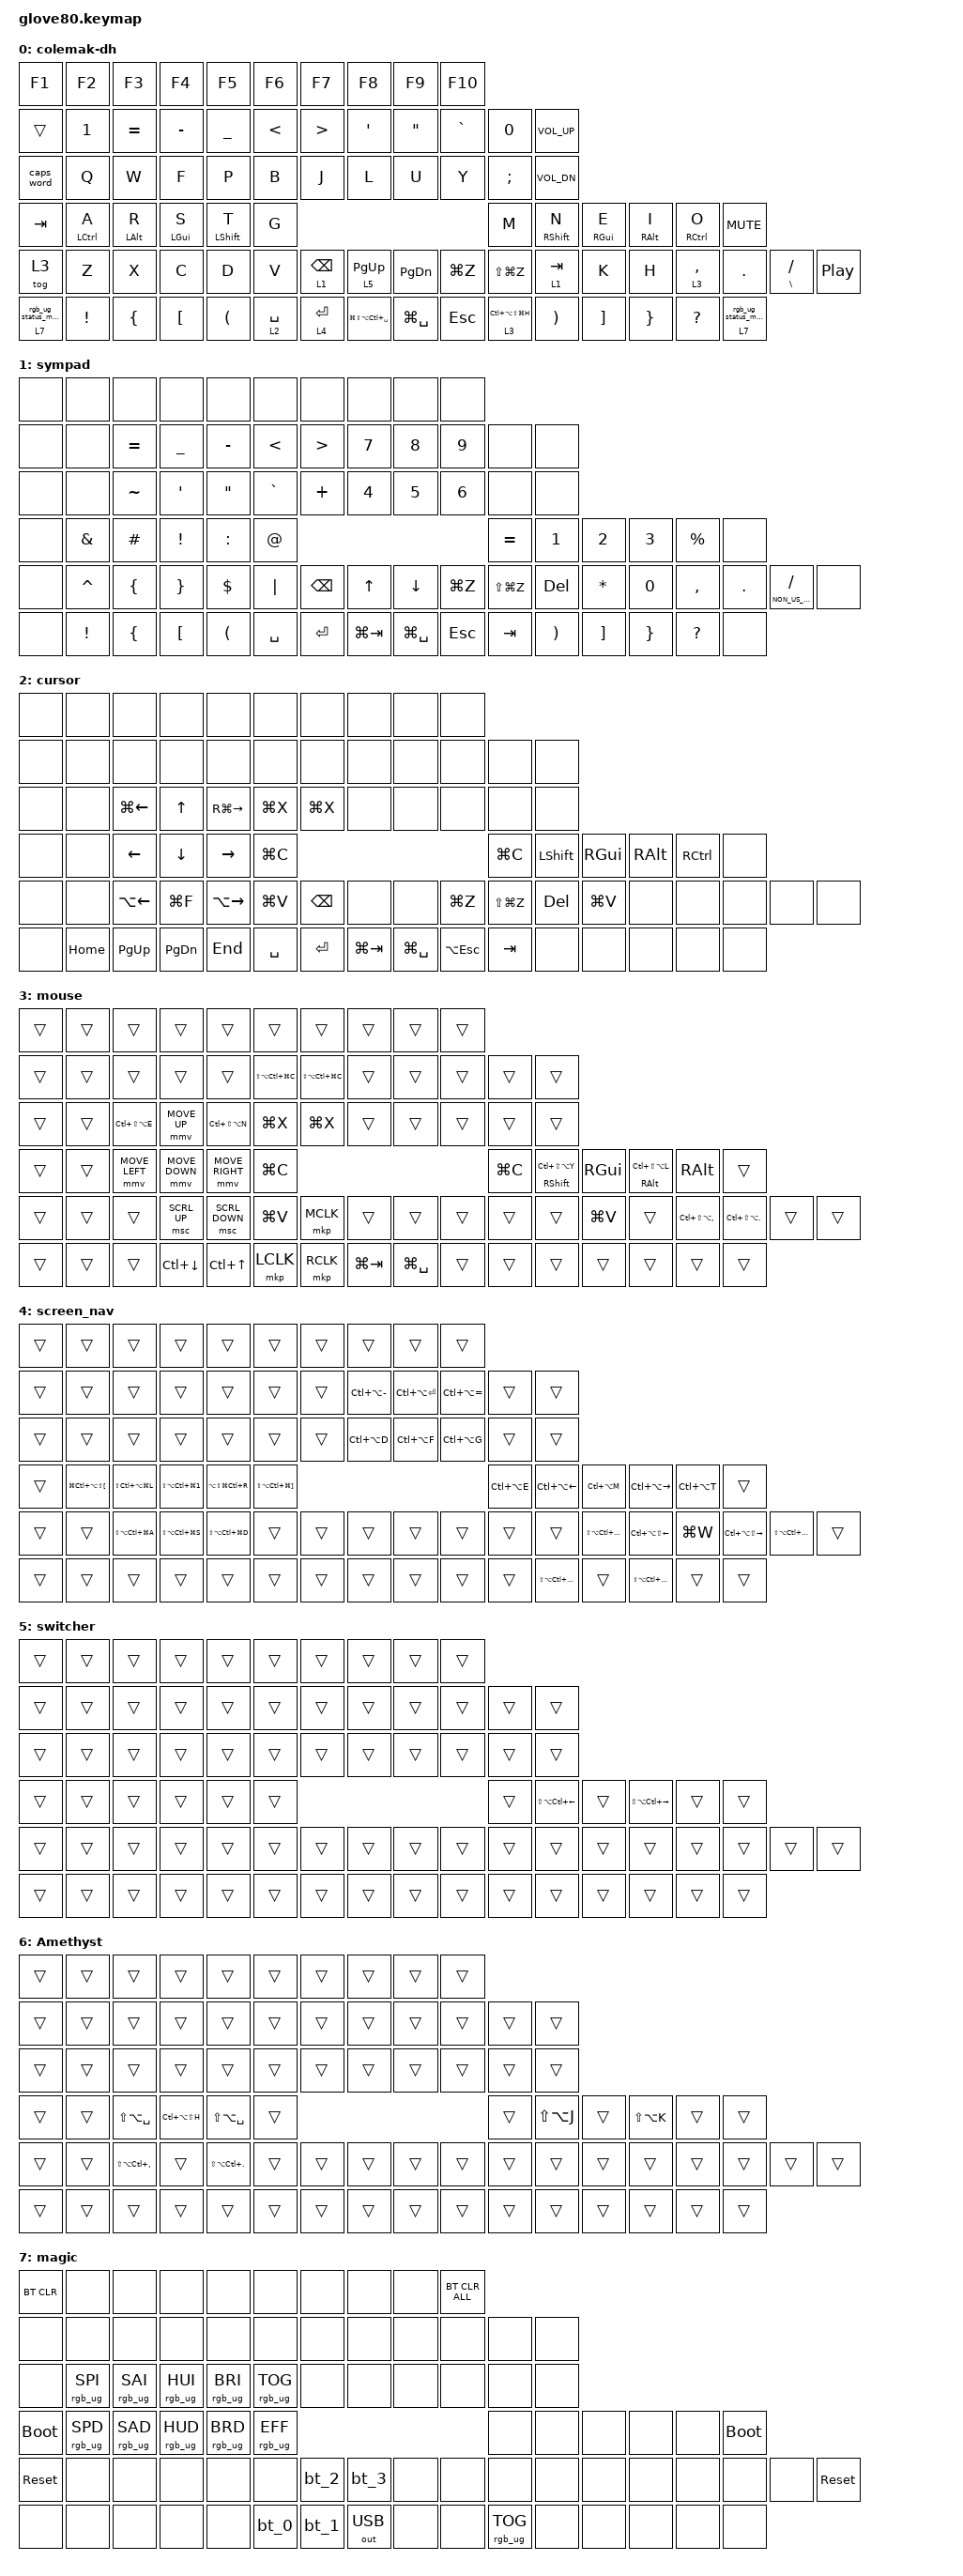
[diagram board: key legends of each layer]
/*
 * Copyright (c) 2020 The ZMK Contributors
 *
 * SPDX-License-Identifier: MIT
 */
// layers

#define DEFAULT 0
#define LOWER 1
#define MAGIC 2
#define FACTORY_TEST 3

//////////////////////////////////////////////////////////////////////////
//
// Mouse keys (control mouse via keyboard) -- requires PR23 beta firmware:
// select "community.pr23.mouse-keys" from the drop-down menu located at
// Glove80 Layout Editor > Settings > Advanced Settings > Firmware Version
//
// - https://github.com/moergo-sc/zmk/pull/23
// - https://gist.github.com/krissen/dd27082e7ab0575619c7a31f4d2ec7ae
// - https://github.com/zmkfirmware/zmk/compare/main...urob:zmk:mouse-3.2
//
//////////////////////////////////////////////////////////////////////////
//
// ENABLE_MOUSE_KEYS activates support for mouse keys if defined; otherwise
// mouse keys are deactivated (they're transformed into no-ops) by default.
// To use this feature, uncomment the following line (remove leading "//").
//
//#define ENABLE_MOUSE_KEYS // requires PR23 beta firmware: see note above
//
// MOUSE_MOTION_DELAY defines how long to wait (milliseconds) before starting
// to move the mouse pointer.
//

#define MOUSE_MOTION_DELAY 0

//
// MOUSE_MOTION_ACCELERATION_EXPONENT sets how the mouse pointer accelerates:
//
// acceleration exponent 0: uniform speed
// acceleration exponent 1: uniform acceleration
// acceleration exponent 2: uniform jerk
//

#define MOUSE_MOTION_ACCELERATION_EXPONENT 1

//
// MOUSE_MOTION_TIME_TO_MAXIMUM_SPEED defines how long to wait (milliseconds)
// before the mouse pointer speed is suddenly boosted to the maximum value.
//

#define MOUSE_MOTION_TIME_TO_MAXIMUM_SPEED 300

//
// MOUSE_MOTION_MAXIMUM_SPEED defines how quickly the mouse pointer can move.
//

#define MOUSE_MOTION_MAXIMUM_SPEED 1200

//
// MOUSE_SCROLL_DELAY defines how long to wait (milliseconds) before starting
// to move the mouse pointer.
//

#define MOUSE_SCROLL_DELAY 0

// 

#define MOUSE_SCROLL_MAXIMUM_SPEED 20

//
// MOUSE_SCROLL_ACCELERATION_EXPONENT sets how the mouse pointer accelerates:
//
// acceleration exponent 0: uniform speed
// acceleration exponent 1: uniform acceleration
// acceleration exponent 2: uniform jerk
//

#define MOUSE_SCROLL_ACCELERATION_EXPONENT 0

//
// MOUSE_SCROLL_TIME_TO_MAXIMUM_SPEED defines how long to wait (milliseconds)
// before the mouse pointer speed is suddenly boosted to the maximum value.
//

#define MOUSE_SCROLL_TIME_TO_MAXIMUM_SPEED 450
#define ZMK_POINTING_DEFAULT_MOVE_VAL MOUSE_MOTION_MAXIMUM_SPEED
#define ZMK_POINTING_DEFAULT_SCRL_VAL MOUSE_SCROLL_MAXIMUM_SPEED

#include <dt-bindings/zmk/pointing.h>
#include <behaviors.dtsi>
#include <dt-bindings/zmk/bt.h>
#include <dt-bindings/zmk/keys.h>
#include <dt-bindings/zmk/outputs.h>
#include <dt-bindings/zmk/rgb.h>


&mt { flavor = "balanced"; };

/ {
    behaviors {
        // For the "layer" key, it'd nice to be able to use it as either a shift or a toggle.
        // Configure it as a tap dance, so the first tap (or hold) is a &mo and the second tap is a &to

        layer_td: tap_dance_0 {
            compatible = "zmk,behavior-tap-dance";
            label = "LAYER_TAP_DANCE";
            #binding-cells = <0>;
            tapping-term-ms = <200>;
            bindings = <&mo 3>, <&to 3>;
        };

        magic: magic_hold_tap {
            compatible = "zmk,behavior-hold-tap";
            label = "MAGIC_HOLD_TAP";
            #binding-cells = <2>;
            flavor = "tap-preferred";
            tapping-term-ms = <200>;
            bindings = <&mo>, <&rgb_ug_status_macro>;
        };
    };

    macros {
        rgb_ug_status_macro: rgb_ug_status_macro_0 {
            label = "RGB_UG_STATUS";
            compatible = "zmk,behavior-macro";
            #binding-cells = <0>;
            bindings = <&rgb_ug RGB_STATUS>;
        };

        bt_0: bt_profile_macro_0 {
            label = "BT_0";
            compatible = "zmk,behavior-macro";
            #binding-cells = <0>;
            bindings = <&out OUT_BLE &bt BT_SEL 0>;
        };

        bt_1: bt_profile_macro_1 {
            label = "BT_1";
            compatible = "zmk,behavior-macro";
            #binding-cells = <0>;
            bindings = <&out OUT_BLE &bt BT_SEL 1>;
        };

        bt_2: bt_profile_macro_2 {
            label = "BT_2";
            compatible = "zmk,behavior-macro";
            #binding-cells = <0>;
            bindings = <&out OUT_BLE &bt BT_SEL 2>;
        };

        bt_3: bt_profile_macro_3 {
            label = "BT_3";
            compatible = "zmk,behavior-macro";
            #binding-cells = <0>;
            bindings = <&out OUT_BLE &bt BT_SEL 3>;
        };
    };

    keymap {
        compatible = "zmk,keymap";

        colemak-dh {
            bindings = <

            &kp F1  &kp F2  &kp F3  &kp F4  &kp F5  &kp F6  &kp F7  &kp F8  &kp F9  &kp F10
            &trans  &kp N1  &kp EQUAL  &kp MINUS  &kp UNDERSCORE  &kp LESS_THAN  &kp GREATER_THAN  &kp SQT  &kp DOUBLE_QUOTES  &kp GRAVE  &kp N0  &kp C_VOL_UP
            &caps_word  &kp Q  &kp W  &kp F  &kp P  &kp B  &kp J  &kp L  &kp U  &kp Y  &kp SEMI  &kp C_VOL_DN
            &kp TAB  &mt LCTRL A  &mt LEFT_ALT R  &mt LGUI S  &mt LEFT_SHIFT T  &kp G  &kp M  &mt RIGHT_SHIFT N  &mt RGUI E  &mt RALT I  &mt RCTRL O  &kp K_MUTE
            &tog 3  &kp Z  &kp X  &kp C  &kp D  &kp V  &lt 1 BACKSPACE  &lt 5 PG_UP  &kp PAGE_DOWN  &kp LG(Z)  &kp LS(LG(Z))  &lt 1 TAB  &kp K  &kp H  &lt 3 COMMA  &kp DOT  &mt BACKSLASH SLASH  &kp C_PLAY_PAUSE
            &magic 7 0  &kp EXCLAMATION  &kp LEFT_BRACE  &kp LEFT_BRACKET  &kp LEFT_PARENTHESIS  &lt 2 SPACE  &lt 4 ENTER  &kp LG(LS(LA(LC(SPACE))))  &kp LG(SPACE)  &kp ESCAPE  &lt 3 LC(LA(LS(LG(H))))  &kp RIGHT_PARENTHESIS  &kp RIGHT_BRACKET  &kp RIGHT_BRACE  &kp QUESTION  &magic 7 0
        
            >;
        };

        sympad {
            bindings = <

            &none  &none  &none  &none  &none  &none  &none  &none  &none  &none
            &none  &none  &kp EQUAL  &kp UNDERSCORE  &kp MINUS  &kp LESS_THAN  &kp GREATER_THAN  &kp N7  &kp N8  &kp N9  &none  &none
            &none  &none  &kp TILDE  &kp SQT  &kp DQT  &kp GRAVE  &kp PLUS  &kp N4  &kp N5  &kp N6  &none  &none
            &none  &kp AMPS  &kp HASH  &kp EXCLAMATION  &kp COLON  &kp AT_SIGN  &kp EQUAL  &kp N1  &kp N2  &kp N3  &kp PERCENT  &none
            &none  &kp CARET  &kp LEFT_BRACE  &kp RIGHT_BRACE  &kp DOLLAR  &kp PIPE  &kp BACKSPACE  &kp UP_ARROW  &kp DOWN  &kp LG(Z)  &kp LS(LG(Z))  &kp DELETE  &kp ASTERISK  &kp N0  &kp COMMA  &kp PERIOD  &mt NON_US_BACKSLASH SLASH  &none
            &none  &kp EXCLAMATION  &kp LEFT_BRACE  &kp LEFT_BRACKET  &kp LEFT_PARENTHESIS  &kp SPACE  &kp ENTER  &kp LG(TAB)  &kp LG(SPACE)  &kp ESCAPE  &kp TAB  &kp RIGHT_PARENTHESIS  &kp RIGHT_BRACKET  &kp RIGHT_BRACE  &kp QUESTION  &none
        
            >;
        };

        cursor {
            bindings = <

            &none  &none  &none  &none  &none  &none  &none  &none  &none  &none
            &none  &none  &none  &none  &none  &none  &none  &none  &none  &none  &none  &none
            &none  &none  &kp LG(LEFT)  &kp UP_ARROW  &kp RG(RIGHT)  &kp LG(X)  &kp LG(X)  &none  &none  &none  &none  &none
            &none  &none  &kp LEFT_ARROW  &kp DOWN_ARROW  &kp RIGHT  &kp LG(C)  &kp LG(C)  &kp LEFT_SHIFT  &kp RIGHT_GUI  &kp RIGHT_ALT  &kp RIGHT_CONTROL  &none
            &none  &none  &kp LA(LEFT)  &kp LG(F)  &kp LA(RIGHT)  &kp LG(V)  &kp BACKSPACE  &none  &none  &kp LG(Z)  &kp LS(LG(Z))  &kp DELETE  &kp LG(V)  &none  &none  &none  &none  &none
            &none  &kp HOME  &kp PG_UP  &kp PG_DN  &kp END  &kp SPACE  &kp ENTER  &kp LG(TAB)  &kp LG(SPACE)  &kp LA(ESCAPE)  &kp TAB  &none  &none  &none  &none  &none
        
            >;
        };

        mouse {
            bindings = <

            &trans  &trans  &trans  &trans  &trans  &trans  &trans  &trans  &trans  &trans
            &trans  &trans  &trans  &trans  &trans  &kp LS(LA(LC(LG(C))))  &kp LS(LA(LC(LG(C))))  &trans  &trans  &trans  &trans  &trans
            &trans  &trans  &kp LC(LS(LA(E)))  &mmv MOVE_UP  &kp LC(LS(LA(N)))  &kp LG(X)  &kp LG(X)  &trans  &trans  &trans  &trans  &trans
            &trans  &trans  &mmv MOVE_LEFT  &mmv MOVE_DOWN  &mmv MOVE_RIGHT  &kp LG(C)  &kp LG(C)  &mt RSHFT LC(LS(LA(Y)))  &kp RGUI  &mt RALT LC(LS(LA(L)))  &kp RALT  &trans
            &trans  &trans  &trans  &msc SCRL_UP  &msc SCRL_DOWN  &kp LG(V)  &mkp MCLK  &trans  &trans  &trans  &trans  &trans  &kp LG(V)  &trans  &kp LC(LS(LA(COMMA)))  &kp LC(LS(LA(PERIOD)))  &trans  &trans
            &trans  &trans  &trans  &kp LC(DOWN)  &kp LC(UP)  &mkp LCLK  &mkp RCLK  &kp LG(TAB)  &kp LG(SPACE)  &trans  &trans  &trans  &trans  &trans  &trans  &trans
        
            >;
        };

        screen_nav {
            bindings = <

            &trans  &trans  &trans  &trans  &trans  &trans  &trans  &trans  &trans  &trans
            &trans  &trans  &trans  &trans  &trans  &trans  &trans  &kp LC(LA(MINUS))  &kp LC(LA(RETURN))  &kp LC(LA(EQUAL))  &trans  &trans
            &trans  &trans  &trans  &trans  &trans  &trans  &trans  &kp LC(LA(D))  &kp LC(LA(F))  &kp LC(LA(G))  &trans  &trans
            &trans  &kp LG(LC(LA(LS(LEFT_BRACKET))))  &kp LS(LC(LA(LG(L))))  &kp LS(LA(LC(LG(NUMBER_1))))  &kp LA(LS(LG(LC(R))))  &kp LS(LA(LC(LG(RIGHT_BRACKET))))  &kp LC(LA(E))  &kp LC(LA(LEFT))  &kp LC(LA(M))  &kp LC(LA(RIGHT))  &kp LC(LA(T))  &trans
            &trans  &trans  &kp LS(LA(LC(LG(A))))  &kp LS(LA(LC(LG(S))))  &kp LS(LA(LC(LG(D))))  &trans  &trans  &trans  &trans  &trans  &trans  &trans  &kp LS(LA(LC(LG(DOWN))))  &kp LC(LA(LS(LEFT)))  &kp LG(W)  &kp LC(LA(LS(RIGHT)))  &kp LS(LA(LC(LG(UP_ARROW))))  &trans
            &trans  &trans  &trans  &trans  &trans  &trans  &trans  &trans  &trans  &trans  &trans  &kp LS(LA(LC(LG(LEFT))))  &trans  &kp LS(LA(LC(LG(RIGHT))))  &trans  &trans
        
            >;
        };

        switcher {
            bindings = <

            &trans  &trans  &trans  &trans  &trans  &trans  &trans  &trans  &trans  &trans
            &trans  &trans  &trans  &trans  &trans  &trans  &trans  &trans  &trans  &trans  &trans  &trans
            &trans  &trans  &trans  &trans  &trans  &trans  &trans  &trans  &trans  &trans  &trans  &trans
            &trans  &trans  &trans  &trans  &trans  &trans  &trans  &kp LS(LA(LC(LEFT)))  &trans  &kp LS(LA(LC(RIGHT)))  &trans  &trans
            &trans  &trans  &trans  &trans  &trans  &trans  &trans  &trans  &trans  &trans  &trans  &trans  &trans  &trans  &trans  &trans  &trans  &trans
            &trans  &trans  &trans  &trans  &trans  &trans  &trans  &trans  &trans  &trans  &trans  &trans  &trans  &trans  &trans  &trans
        
            >;
        };

        Amethyst {
            bindings = <

            &trans  &trans  &trans  &trans  &trans  &trans  &trans  &trans  &trans  &trans
            &trans  &trans  &trans  &trans  &trans  &trans  &trans  &trans  &trans  &trans  &trans  &trans
            &trans  &trans  &trans  &trans  &trans  &trans  &trans  &trans  &trans  &trans  &trans  &trans
            &trans  &trans  &kp LS(LA(SPACE))  &kp LC(LA(LS(H)))  &kp LS(LA(SPACE))  &trans  &trans  &kp LS(LA(J))  &trans  &kp LS(LA(K))  &trans  &trans
            &trans  &trans  &kp LS(LA(LC(COMMA)))  &trans  &kp LS(LA(LC(PERIOD)))  &trans  &trans  &trans  &trans  &trans  &trans  &trans  &trans  &trans  &trans  &trans  &trans  &trans
            &trans  &trans  &trans  &trans  &trans  &trans  &trans  &trans  &trans  &trans  &trans  &trans  &trans  &trans  &trans  &trans
        
            >;
        };

        magic {
            bindings = <

            &bt BT_CLR  &none  &none  &none  &none  &none  &none  &none  &none  &bt BT_CLR_ALL
            &none  &none  &none  &none  &none  &none  &none  &none  &none  &none  &none  &none
            &none  &rgb_ug RGB_SPI  &rgb_ug RGB_SAI  &rgb_ug RGB_HUI  &rgb_ug RGB_BRI  &rgb_ug RGB_TOG  &none  &none  &none  &none  &none  &none
            &bootloader  &rgb_ug RGB_SPD  &rgb_ug RGB_SAD  &rgb_ug RGB_HUD  &rgb_ug RGB_BRD  &rgb_ug RGB_EFF  &none  &none  &none  &none  &none  &bootloader
            &sys_reset  &none  &none  &none  &none  &none  &bt_2  &bt_3  &none  &none  &none  &none  &none  &none  &none  &none  &none  &sys_reset
            &none  &none  &none  &none  &none  &bt_0  &bt_1  &out OUT_USB  &none  &none  &rgb_ug RGB_TOG  &none  &none  &none  &none  &none
        
            >;
        };
    };
};
